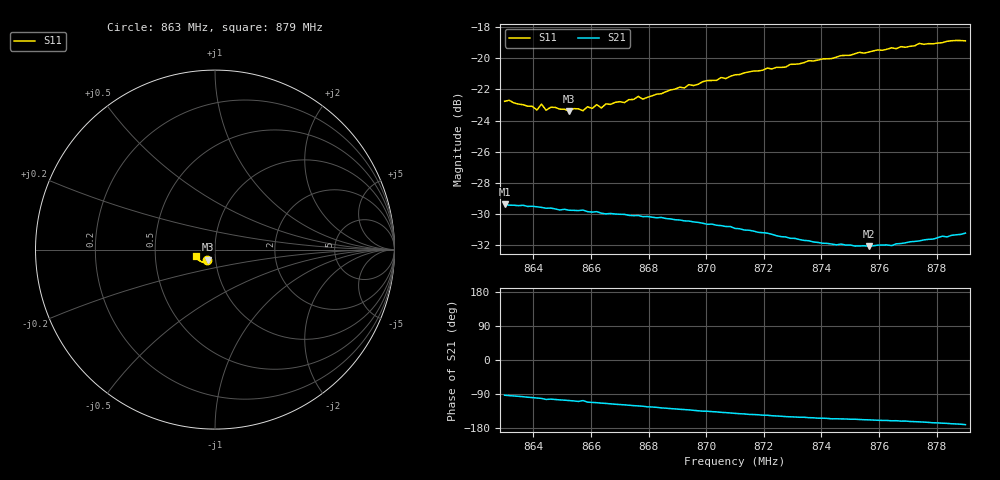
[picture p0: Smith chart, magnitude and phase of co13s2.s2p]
# HZ S RI R 50
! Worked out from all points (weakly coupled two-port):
!   101 points, 863 MHz to 879 MHz, reference 50 ohm
!   highest |S21| = -29.37 dB at 863 MHz (marker M1); lowest = -32.0 dB at 875.64 MHz (marker M2)
!   lowest |S11| = -23.4 dB at 865.24 MHz (marker M3), VSWR 1.15, Z = 46.1 - j5.22 ohm
!   |S11| at or under -10 dB: start of sweep to end of sweep
!   S12 and S22 are empty: the file has one direction only
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8.63e8  -0.0455 -0.0569  -0.00173 -0.034  0 0  0 0
8.6396e8  -0.0415 -0.0566  -0.00536 -0.0331  0 0  0 0
8.6412e8  -0.0397 -0.0555  -0.006 -0.0329  0 0  0 0
8.6428e8  -0.0412 -0.0582  -0.00654 -0.0326  0 0  0 0
8.6444e8  -0.0398 -0.0553  -0.0081 -0.0321  0 0  0 0
8.646e8  -0.0394 -0.0575  -0.0076 -0.0322  0 0  0 0
8.6524e8  -0.0375 -0.0564  -0.00953 -0.0312  0 0  0 0
8.654e8  -0.0378 -0.0577  -0.01 -0.031  0 0  0 0
8.6572e8  -0.0324 -0.0597  -0.00957 -0.0312  0 0  0 0
8.662e8  -0.0372 -0.0605  -0.0124 -0.0298  0 0  0 0
8.6636e8  -0.0368 -0.0587  -0.0129 -0.0292  0 0  0 0
8.6652e8  -0.0366 -0.0614  -0.0132 -0.0288  0 0  0 0
8.6716e8  -0.0366 -0.0621  -0.015 -0.0278  0 0  0 0
8.6764e8  -0.0388 -0.0647  -0.0162 -0.0268  0 0  0 0
8.678e8  -0.0383 -0.0633  -0.0165 -0.0263  0 0  0 0
8.6844e8  -0.0393 -0.0662  -0.0183 -0.0249  0 0  0 0
8.694e8  -0.0436 -0.0698  -0.02 -0.0225  0 0  0 0
8.71e8  -0.0519 -0.0717  -0.0221 -0.018  0 0  0 0
8.7372e8  -0.0686 -0.07  -0.0229 -0.0119  0 0  0 0
8.7564e8  -0.0831 -0.0636  -0.0232 -0.00938  0 0  0 0
8.7644e8  -0.0905 -0.059  -0.0236 -0.0084  0 0  0 0
8.79e8  -0.1072 -0.0379  -0.0271 -0.00449  0 0  0 0
